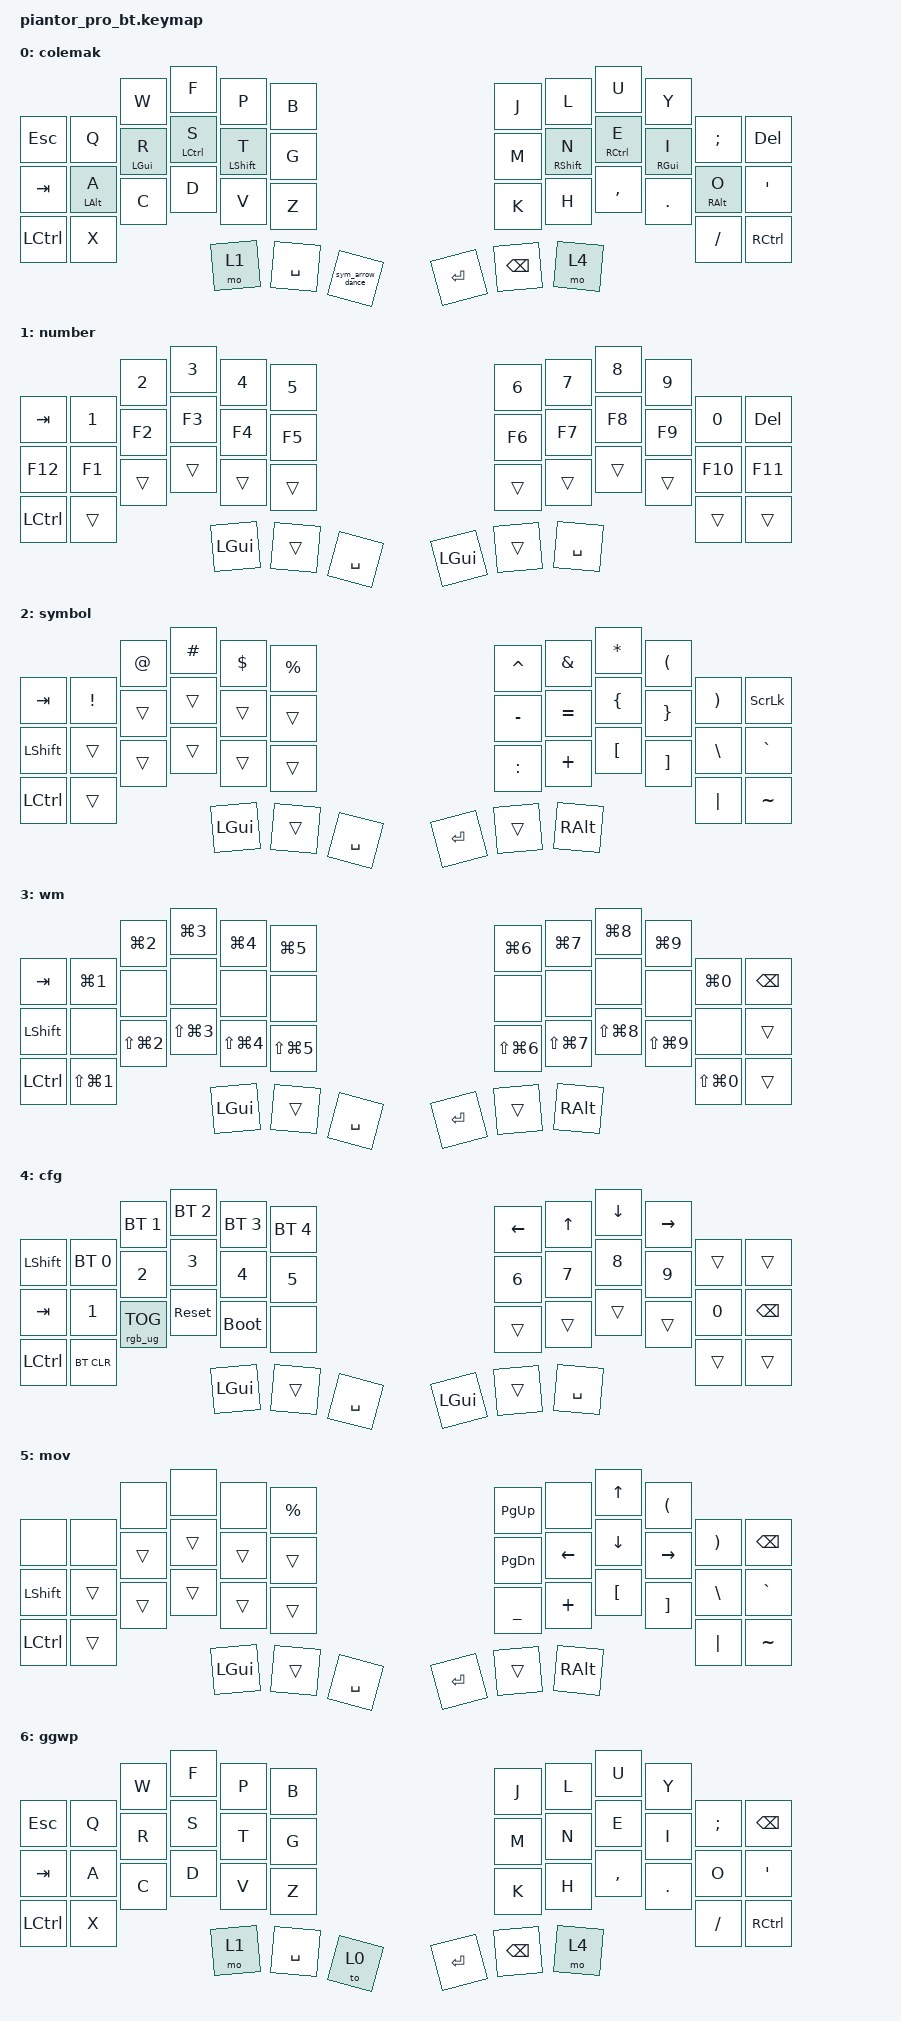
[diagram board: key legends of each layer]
/*
 * Copyright (c) 2020 The ZMK Contributors
 *
 * SPDX-License-Identifier: MIT
 */

#include <behaviors.dtsi>
#include <dt-bindings/zmk/bt.h>
#include <dt-bindings/zmk/keys.h>
#include <dt-bindings/zmk/rgb.h>

/ {
    chosen { zmk,physical-layout = &default_layout; };
};

/ {
    combos {
      compatible = "zmk,combos";
        combo_wm_layer {
            timeout-ms = <50>;
            key-positions = <19 20>;
            bindings = <&mo 3>;
        };
        combo_sym_layer_left {
            timeout-ms = <50>;
            key-positions = <3 4>;
            bindings = <&mo 2>;
        };
        combo_sym_layer_right {
            timeout-ms = <30>;
            key-positions = <7 8>;
            bindings = <&mo 2>;
        };
        combo_caps_word {
            timeout-ms = <30>;
            key-positions = <31 32>;
            bindings = <&prog_caps>;
        };
    };
    behaviors {
      hml: hml {
        compatible = "zmk,behavior-hold-tap";
        #binding-cells = <2>;
        display-name = "HML";
        bindings = <&kp>, <&kp>;
        tapping-term-ms = <280>;
        quick-tap-ms = <175>;
        require-prior-idle-ms = <125>;
        flavor = "balanced";
        hold-trigger-key-positions = <6 7 8 9 10 11 18 19 20 21 22 23 30 31 32 33 34 35 39 40 41>;
        hold-trigger-on-release;
      };
      hmr: hmr {
        compatible = "zmk,behavior-hold-tap";
        #binding-cells = <2>;
        display-name = "HMR";
        bindings = <&kp>, <&kp>;
        tapping-term-ms = <280>;
        quick-tap-ms = <175>;
        require-prior-idle-ms = <125>;
        flavor = "balanced";
        hold-trigger-key-positions = <0 1 2 3 4 5 12 13 14 15 16 17 24 25 26 27 28 29 36 37 38>;
        hold-trigger-on-release;
      };
      /* Custom Left Shift */
      hml_shift: hml_shift {
        compatible = "zmk,behavior-hold-tap";
        #binding-cells = <2>;
        display-name = "HML_SHIFT";
        bindings = <&kp>, <&kp>;
        tapping-term-ms = <200>;
        quick-tap-ms = <175>;
        require-prior-idle-ms = <85>;
        flavor = "balanced";
        hold-trigger-key-positions = <6 7 8 9 10 11 18 19 20 21 22 23 30 31 32 33 34 35 39 40 41>;
        hold-trigger-on-release;
      };
      /* Custom Right Shift */
      hmr_shift: hmr_shift {
        compatible = "zmk,behavior-hold-tap";
        #binding-cells = <2>;
        display-name = "HMR_SHIFT";
        bindings = <&kp>, <&kp>;
        tapping-term-ms = <200>;
        quick-tap-ms = <175>;
        require-prior-idle-ms = <85>;
        flavor = "balanced";
        hold-trigger-key-positions = <0 1 2 3 4 5 12 13 14 15 16 17 24 25 26 27 28 29 36 37 38>;
        hold-trigger-on-release;
      };
      prog_caps: prog_caps {
        compatible = "zmk,behavior-caps-word";
        #binding-cells = <0>;
        continue-list = <UNDERSCORE MINUS>;
      };
      sym_arrow_dance: sym_arrow_dance {
        compatible = "zmk,behavior-tap-dance";
            #binding-cells = <0>;
            tapping-term-ms = <200>;
            bindings = <&mo 2>, <&mo 5>, <&to 6>;
        };
    };

    keymap {
        compatible = "zmk,keymap";

        colemak_dh {
            display-name = "colemak";

            bindings = <
              &kp ESCAPE  &kp Q  &kp W  &kp F  &kp P  &kp B  &kp J  &kp L  &kp U  &kp Y  &kp SEMICOLON  &kp DEL
              &kp TAB  &hml LALT A  &hml LGUI R  &hml LCTRL S  &hml_shift LSHFT T  &kp G  &kp M  &hmr_shift RSHFT N  &hmr RCTRL E  &hmr RGUI I  &hmr RALT O  &kp SINGLE_QUOTE
              &kp LCTRL  &kp X  &kp C  &kp D  &kp V  &kp Z  &kp K  &kp H  &kp COMMA  &kp PERIOD  &kp SLASH  &kp RCTRL
                         &mo 1  &kp SPACE  &sym_arrow_dance  &kp RET  &kp BACKSPACE  &mo 4
            >;
        };

        number_layer {
            display-name = "number";

            bindings = <
              &kp TAB  &kp N1  &kp N2  &kp N3  &kp N4  &kp N5  &kp N6  &kp N7  &kp N8  &kp N9  &kp N0  &kp DEL
              &kp F12  &kp F1  &kp F2  &kp F3  &kp F4  &kp F5  &kp F6  &kp F7  &kp F8  &kp F9  &kp F10  &kp F11
              &kp LCTRL  &trans  &trans  &trans  &trans  &trans  &trans  &trans  &trans  &trans  &trans  &trans
                          &kp LGUI  &trans  &kp SPACE  &kp LGUI  &trans  &kp SPACE
            >;
        };

        symbol_layer {
            display-name = "symbol";

            bindings = <
              &kp TAB  &kp EXCL  &kp AT  &kp HASH  &kp DLLR  &kp PRCNT  &kp CARET  &kp AMPS  &kp ASTRK  &kp LPAR  &kp RPAR  &kp SLCK
              &kp LSHFT  &trans  &trans  &trans  &trans  &trans  &kp MINUS  &kp EQUAL  &kp LBRC  &kp RBRC  &kp BSLH  &kp GRAVE
              &kp LCTRL  &trans  &trans  &trans  &trans  &trans  &kp COLON  &kp PLUS  &kp LBKT  &kp RBKT  &kp PIPE  &kp TILDE
                        &kp LGUI  &trans  &kp SPACE  &kp RET  &trans  &kp RALT
            >;
        };

        wm_layer {
            display-name = "wm";

            bindings = <
              &kp TAB  &kp LG(N1)  &kp LG(N2)  &kp LG(N3)  &kp LG(N4)  &kp LG(N5)  &kp LG(N6)  &kp LG(N7)  &kp LG(N8)  &kp LG(N9)  &kp LG(N0)  &kp BSPC
              &kp LSHFT  &none  &none  &none  &none  &none  &none  &none  &none  &none  &none   &trans
              &kp LCTRL  &kp LS(LG(N1))  &kp LS(LG(N2))  &kp LS(LG(N3))  &kp LS(LG(N4))  &kp LS(LG(N5))  &kp LS(LG(N6))  &kp LS(LG(N7))  &kp LS(LG(N8))  &kp LS(LG(N9))  &kp LS(LG(N0)) &trans
                        &kp LGUI  &trans  &kp SPACE  &kp RET  &trans  &kp RALT
            >;
        };

        config_layer {
            display-name = "cfg";

            bindings = <
              &kp LSHFT  &bt BT_SEL 0  &bt BT_SEL 1  &bt BT_SEL 2  &bt BT_SEL 3  &bt BT_SEL 4  &kp LEFT  &kp UP  &kp DOWN  &kp RIGHT  &trans  &trans
              &kp TAB  &kp N1  &kp N2  &kp N3  &kp N4  &kp N5  &kp N6  &kp N7  &kp N8  &kp N9  &kp N0  &kp BSPC
              &kp LCTRL  &bt BT_CLR  &rgb_ug RGB_TOG  &sys_reset  &bootloader  &none  &trans  &trans  &trans  &trans  &trans  &trans
                          &kp LGUI  &trans  &kp SPACE  &kp LGUI  &trans  &kp SPACE
            >;
        };

        arrows_layer {
            display-name = "mov";

            bindings = <
              &none  &none  &none  &none  &none  &kp PRCNT  &kp PAGE_UP  &none  &kp UP  &kp LPAR  &kp RPAR  &kp BSPC
              &kp LSHFT  &trans  &trans  &trans  &trans  &trans  &kp PAGE_DOWN  &kp LEFT  &kp DOWN  &kp RIGHT  &kp BSLH  &kp GRAVE
              &kp LCTRL  &trans  &trans  &trans  &trans  &trans  &kp UNDER  &kp PLUS  &kp LBKT  &kp RBKT  &kp PIPE  &kp TILDE
                        &kp LGUI  &trans  &kp SPACE  &kp RET  &trans  &kp RALT
            >;
        };

        gaming_layer {
            display-name = "ggwp";

            bindings = <
              &kp ESCAPE  &kp Q  &kp W  &kp F  &kp P  &kp B  &kp J  &kp L  &kp U  &kp Y  &kp SEMICOLON  &kp BSPC
              &kp TAB  &kp A  &kp R  &kp S  &kp T  &kp G  &kp M  &kp N  &kp E  &kp I  &kp O  &kp SINGLE_QUOTE
              &kp LCTRL  &kp X  &kp C  &kp D  &kp V  &kp Z  &kp K  &kp H  &kp COMMA  &kp PERIOD  &kp SLASH  &kp RCTRL
                         &mo 1  &kp SPACE  &to 0  &kp RET  &kp BACKSPACE  &mo 4
            >;
        };
    };
};
